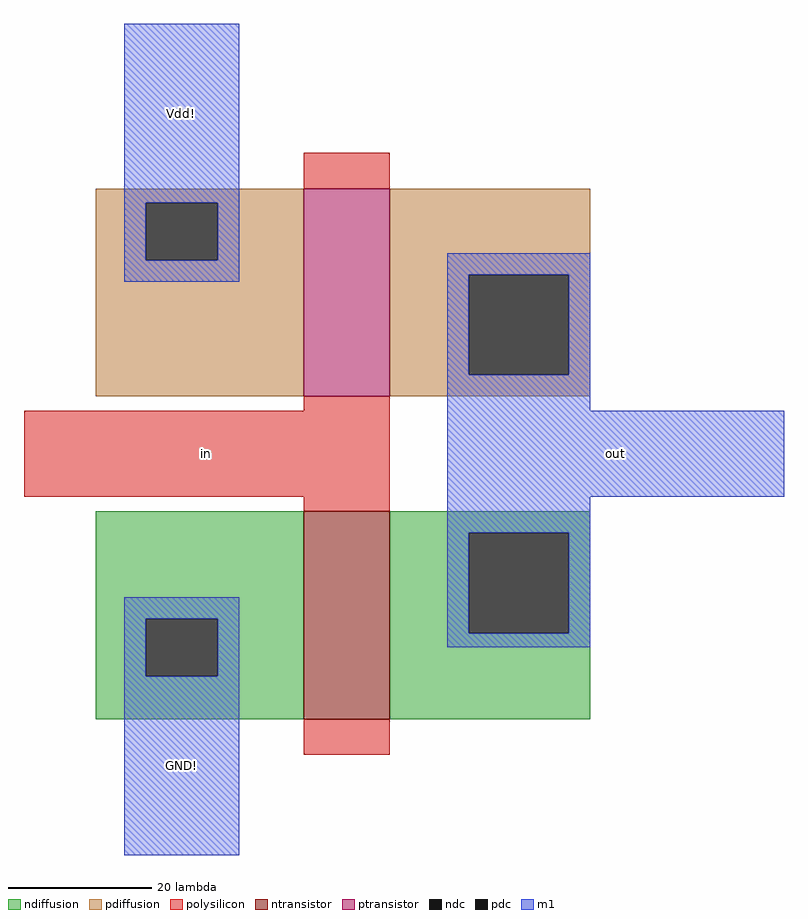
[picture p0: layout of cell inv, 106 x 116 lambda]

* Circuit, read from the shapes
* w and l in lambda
.subckt inv GND! Vdd! in out
M1 out in GND! VSUBS nfet w=29 l=12
M2 out in Vdd! NWELL pfet w=29 l=12
.ends

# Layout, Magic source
magic
tech sky130l
<< ndiffusion >>
rect 11 30 40 45
rect 11 22 18 30
rect 28 22 40 30
rect 11 16 40 22
rect 52 42 80 45
rect 52 28 63 42
rect 77 28 80 42
rect 52 16 80 28
<< ndc >>
rect 18 22 28 30
rect 63 28 77 42
<< ntransistor >>
rect 40 16 52 45
<< pdiffusion >>
rect 11 88 40 90
rect 11 80 18 88
rect 28 80 40 88
rect 11 61 40 80
rect 52 78 80 90
rect 52 64 63 78
rect 77 64 80 78
rect 52 61 80 64
<< pdc >>
rect 18 80 28 88
rect 63 64 77 78
<< ptransistor >>
rect 40 61 52 90
<< polysilicon >>
rect 40 90 52 95
rect 40 59 52 61
rect 1 47 52 59
rect 40 45 52 47
rect 40 11 52 16
<< m1 >>
rect 15 88 31 113
rect 15 80 18 88
rect 28 80 31 88
rect 15 77 31 80
rect 60 78 80 81
rect 60 64 63 78
rect 77 64 80 78
rect 60 59 80 64
rect 60 47 107 59
rect 60 42 80 47
rect 15 30 31 33
rect 15 22 18 30
rect 28 22 31 30
rect 60 28 63 42
rect 77 28 80 42
rect 60 26 80 28
rect 15 -3 31 22
<< labels >>
rlabel polysilicon 1 47 52 59 7 in
rlabel m1 60 47 107 59 3 out
rlabel m1 15 -3 31 22 5 GND!
rlabel m1 15 88 31 113 1 Vdd!
<< end >>
